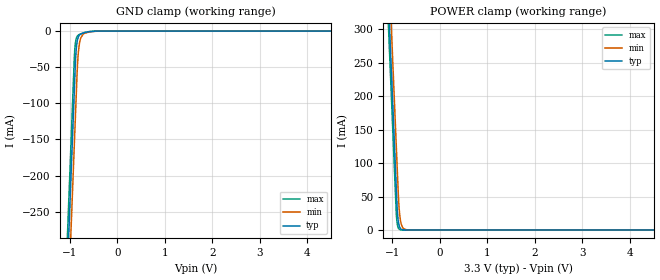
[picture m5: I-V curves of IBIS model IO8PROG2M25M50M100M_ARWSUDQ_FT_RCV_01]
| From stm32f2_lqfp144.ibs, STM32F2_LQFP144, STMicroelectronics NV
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| *** New cell (Generated with 5.14beta1 (Sep 20 2010 13:23:23))
[Model]   IO8PROG2M25M50M100M_ARWSUDQ_FT_RCV_01
Model_type Input
Polarity   Non-Inverting
Enable   Active-Low
| CAP_THRESHOLD on pad IOV33 is "CMOS" :
| Rising=10.0% of vddio   Falling=90.0% of vddio
| C_comp min and max val. don't necessarily correlate with the min and max pvt
| but are the smallest and greatest pad capacitance found.
| var   typ   min   max
C_comp   2.33705pF  2.22125pF  2.46610pF
Vinl = 810.0mV | Dummy value overriden by next lines
Vinh = 2.52V | Dummy value overriden by next lines
[Model Spec]
| TIME_THRESHOLD on pin ZIV33 is "CORE" :
| Rising=40.0% of vddio   Falling=60.0% of vddio
Vinl 1.25450V 1.03850V 1.36250V
Vinh 1.66150V 1.36950V 1.82450V
| variable   typ   min   max
[Temperature Range] 25.0 125.0 -40.0
| variable   typ   min   max
[Voltage Range] 3.3V 2.7V 3.6V
| variable   typ   min   max
[POWER Clamp Reference] 3.3V 2.7V 3.6V
| variable   typ   min   max
[GND Clamp Reference] 0V 0V 0V
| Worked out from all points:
|   GND clamp passes 1 mA (typ) near -0.61 V on its own axis
|   POWER clamp passes 1 mA (typ) near -0.81 V on its own axis
[POWER Clamp]
-3.3V     4.11A      4.173A     4.072A
-1.09V    352.5mA    415.9mA    314.5mA
-1.05V    284.5mA    347.9mA    246.5mA
-1.01V    216.5mA    279.9mA    178.5mA
-920mV    63.51mA    126.9mA    25.85mA
-900mV    31.51mA    92.9mA     9.552mA
-890mV    21.35mA    75.9mA     5.807mA
-870mV    9.804mA    44.01mA    2.146mA
-840mV    3.05mA     18.36mA    482.1uA
-780mV    295.2uA    3.194mA    24.34uA
-660mV    2.764uA    96.52uA    62.42nA
6.6V      0A         0A         0A
[GND Clamp]
-3.3V     -4.149A    -4.224A    -4.103A
-1.06V    -341mA     -415.8mA   -295.1mA
-940mV    -137mA     -211.8mA   -91.11mA
-900mV    -69.01mA   -143.8mA   -27.13mA
-880mV    -37.2mA    -109.8mA   -14.07mA
-870mV    -27.03mA   -92.82mA   -10.89mA
-840mV    -11.77mA   -45.3mA    -6.542mA
-810mV    -6.468mA   -21.54mA   -4.94mA
-780mV    -4.366mA   -11.11mA   -3.995mA
-700mV    -2.247mA   -3.206mA   -2.168mA
-350mV    -8.284uA   -44.58uA   -1.618uA
6.6V      10.47nA    1.304uA    84.25pA
